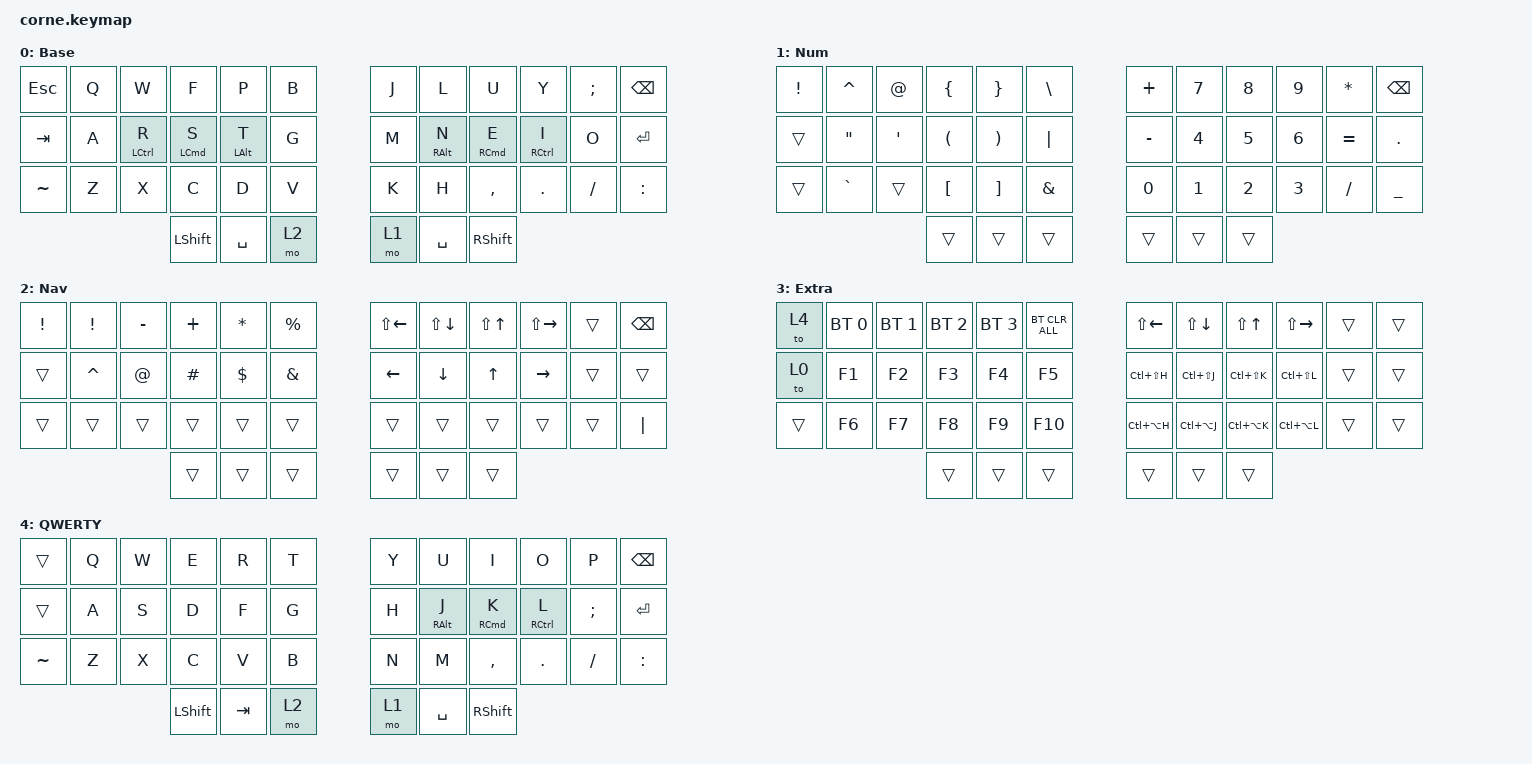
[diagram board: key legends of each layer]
/*
 * Copyright (c) 2020 The ZMK Contributors
 *
 * SPDX-License-Identifier: MIT
 */

#include <behaviors.dtsi>
#include <dt-bindings/zmk/bt.h>
#include <dt-bindings/zmk/keys.h>

/ {
    behaviors {
        MyMT: MyMT {
            compatible = "zmk,behavior-hold-tap";
            label = "MY_MODTAP";
            #binding-cells = <2>;
            bindings = <&kp>, <&kp>;

            tapping-term-ms = <200>;
            quick-tap-ms = <80>;
            flavor = "tap-preferred";
        };
    };

    keymap {
        compatible = "zmk,keymap";

        BASE {
            display-name = "Base";
            bindings = <
&kp ESCAPE  &kp Q  &kp W          &kp F           &kp P             &kp B    &kp J  &kp L              &kp U            &kp Y          &kp SEMI  &kp BSPC
&kp TAB     &kp A  &MyMT LCTRL R  &MyMT LCMD S    &MyMT LEFT_ALT T  &kp G    &kp M  &MyMT RIGHT_ALT N  &MyMT RCMD E     &MyMT RCTRL I  &kp O     &kp ENTER
&kp TILDE   &kp Z  &kp X          &kp C           &kp D             &kp V    &kp K  &kp H              &kp COMMA        &kp DOT        &kp FSLH  &kp COLON
                                  &kp LEFT_SHIFT  &kp SPACE         &mo 2    &mo 1  &kp SPACE          &kp RIGHT_SHIFT
            >;
        };

        NUM {
            display-name = "Num";
            bindings = <
&kp EXCLAMATION  &kp CARET          &kp AT_SIGN  &kp LEFT_BRACE        &kp RIGHT_BRACE        &kp BACKSLASH    &kp PLUS   &kp N7  &kp N8  &kp N9  &kp ASTERISK  &kp BSPC
&trans           &kp DOUBLE_QUOTES  &kp SQT      &kp LEFT_PARENTHESIS  &kp RIGHT_PARENTHESIS  &kp PIPE         &kp MINUS  &kp N4  &kp N5  &kp N6  &kp EQUAL     &kp PERIOD
&trans           &kp GRAVE          &trans       &kp LEFT_BRACKET      &kp RIGHT_BRACKET      &kp AMPS         &kp N0     &kp N1  &kp N2  &kp N3  &kp SLASH     &kp UNDERSCORE
                                                 &trans                &trans                 &trans           &trans     &trans  &trans
            >;
        };

        NAV {
            display-name = "Nav";
            bindings = <
&kp EXCLAMATION  &kp EXCL   &kp MINUS  &kp PLUS  &kp ASTRK   &kp PRCNT    &kp LS(LEFT_ARROW)  &kp LS(DOWN_ARROW)  &kp LS(UP_ARROW)  &kp LS(RIGHT_ARROW)  &trans  &kp BSPC
&trans           &kp CARET  &kp AT     &kp HASH  &kp DOLLAR  &kp AMPS     &kp LEFT_ARROW      &kp DOWN_ARROW      &kp UP_ARROW      &kp RIGHT_ARROW      &trans  &trans
&trans           &trans     &trans     &trans    &trans      &trans       &trans              &trans              &trans            &trans               &trans  &kp PIPE
                                       &trans    &trans      &trans       &trans              &trans              &trans
            >;
        };

        EXTRA {
            display-name = "Extra";
            bindings = <
&to 4   &bt BT_SEL 0  &bt BT_SEL 1  &bt BT_SEL 2  &bt BT_SEL 3  &bt BT_CLR_ALL    &kp LS(LEFT_ARROW)  &kp LS(DOWN_ARROW)  &kp LS(UP_ARROW)  &kp LS(RIGHT_ARROW)  &trans  &trans
&to 0   &kp F1        &kp F2        &kp F3        &kp F4        &kp F5            &kp LC(LS(H))       &kp LC(LS(J))       &kp LC(LS(K))     &kp LC(LS(L))        &trans  &trans
&trans  &kp F6        &kp F7        &kp F8        &kp F9        &kp F10           &kp LC(LA(H))       &kp LC(LA(J))       &kp LC(LA(K))     &kp LC(LA(L))        &trans  &trans
                                    &trans        &trans        &trans            &trans              &trans              &trans
            >;
        };

        QWERTY {
            display-name = "QWERTY";
            bindings = <
&trans     &kp Q  &kp W  &kp E           &kp R    &kp T    &kp Y  &kp U              &kp I            &kp O          &kp P     &kp BSPC
&trans     &kp A  &kp S  &kp D           &kp F    &kp G    &kp H  &MyMT RIGHT_ALT J  &MyMT RCMD K     &MyMT RCTRL L  &kp SEMI  &kp ENTER
&kp TILDE  &kp Z  &kp X  &kp C           &kp V    &kp B    &kp N  &kp M              &kp COMMA        &kp DOT        &kp FSLH  &kp COLON
                         &kp LEFT_SHIFT  &kp TAB  &mo 2    &mo 1  &kp SPACE          &kp RIGHT_SHIFT
            >;
        };
    };

    conditional_layers {
        compatible = "zmk,conditional-layers";

        Extra {
            if-layers = <1 2>;
            then-layer = <3>;
        };
    };
};
